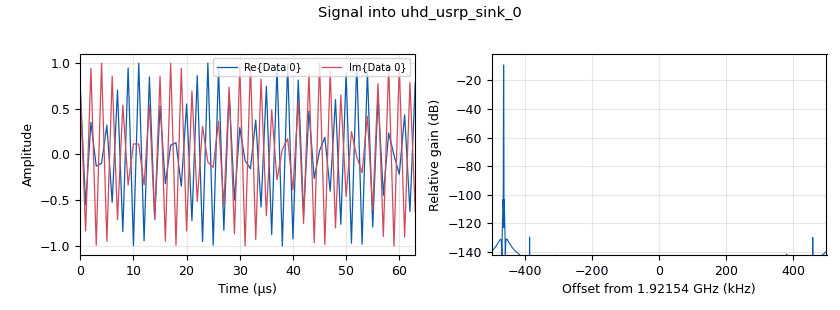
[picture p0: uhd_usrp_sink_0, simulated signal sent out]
<?xml version='1.0' encoding='utf-8'?>
<?grc format='1' created='3.7.11'?>
<flow_graph>
<block>
<key>options</key>
<param><key>id</key><value>DECT_GFSK_USRPX310_CW</value></param>
<param><key>category</key><value>Custom</value></param>
<param><key>generate_options</key><value>no_gui</value></param>
</block>
<block>
<key>variable</key>
<param><key>id</key><value>frequency</value></param>
<param><key>value</key><value>1921.536e6</value></param>
</block>
<block>
<key>variable</key>
<param><key>id</key><value>ip_address</value></param>
<param><key>value</key><value>"192.168.40.2"</value></param>
</block>
<block>
<key>variable</key>
<param><key>id</key><value>notes</value></param>
<param><key>value</key><value>"Jams DECT with a CW signal."</value></param>
</block>
<block>
<key>variable</key>
<param><key>id</key><value>sample_rate</value></param>
<param><key>value</key><value>1e6</value></param>
</block>
<block>
<key>variable</key>
<param><key>id</key><value>tx_usrp_antenna</value></param>
<param><key>value</key><value>"TX/RX"</value></param>
</block>
<block>
<key>variable</key>
<param><key>id</key><value>tx_usrp_channel</value></param>
<param><key>value</key><value>"A:0"</value></param>
</block>
<block>
<key>variable</key>
<param><key>id</key><value>tx_usrp_gain</value></param>
<param><key>value</key><value>20</value></param>
</block>
<block>
<key>variable</key>
<param><key>id</key><value>usrp_gain</value></param>
<param><key>value</key><value>20</value></param>
</block>
<block>
<key>analog_sig_source_x</key>
<param><key>id</key><value>analog_sig_source_x_0</value></param>
<param><key>amp</key><value>1</value></param>
<param><key>freq</key><value>frequency</value></param>
<param><key>offset</key><value>0</value></param>
<param><key>type</key><value>complex</value></param>
<param><key>samp_rate</key><value>sample_rate</value></param>
<param><key>waveform</key><value>analog.GR_COS_WAVE</value></param>
</block>
<block>
<key>uhd_usrp_sink</key>
<param><key>id</key><value>uhd_usrp_sink_0</value></param>
<param><key>ant0</key><value>tx_usrp_antenna</value></param>
<param><key>center_freq0</key><value>frequency</value></param>
<param><key>norm_gain0</key><value>False</value></param>
<param><key>gain0</key><value>usrp_gain</value></param>
<param><key>clock_rate</key><value>0.0</value></param>
<param><key>dev_addr</key><value>"addr=" + ip_address</value></param>
<param><key>dev_args</key><value>""</value></param>
<param><key>type</key><value>fc32</value></param>
<param><key>sd_spec0</key><value>tx_usrp_channel</value></param>
<param><key>samp_rate</key><value>sample_rate</value></param>
<param><key>hide_cmd_port</key><value>False</value></param>
<param><key>hide_lo_controls</key><value>True</value></param>
<param><key>sync</key><value></value></param>
<param><key>len_tag_name</key><value></value></param>
</block>
<connection><source_block_id>analog_sig_source_x_0</source_block_id><sink_block_id>uhd_usrp_sink_0</sink_block_id><source_key>0</source_key><sink_key>0</sink_key></connection>
</flow_graph>
